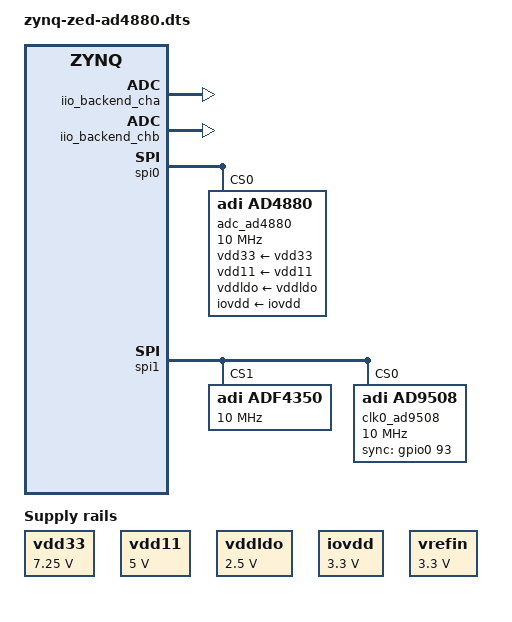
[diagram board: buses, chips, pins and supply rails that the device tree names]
// SPDX-License-Identifier: GPL-2.0
/dts-v1/;
#include "zynq-zed.dts"

#include <dt-bindings/interrupt-controller/irq.h>
#include <dt-bindings/iio/frequency/ad9508.h>

/ {
	clocks {
		axi_clk: clock@0 {
			compatible = "fixed-clock";
			clock-frequency = <100000000>;
			clock-output-names = "axi-clk";
			#clock-cells = <0>;
		};
	};

	vdd33: regulator-vdd33 {
		compatible = "regulator-fixed";
		regulator-name = "fixed-supply";
		regulator-min-microvolt = <7250000>;
		regulator-max-microvolt = <7250000>;
		regulator-always-on;
	};

	vdd11: regulator-vdd11 {
		compatible = "regulator-fixed";
		regulator-name = "fixed-supply";
		regulator-min-microvolt = <5000000>;
		regulator-max-microvolt = <5000000>;
		regulator-always-on;
	};

	vddldo: regulator-vddldo {
		compatible = "regulator-fixed";
		regulator-name = "fixed-supply";
		regulator-min-microvolt = <2500000>;
		regulator-max-microvolt = <2500000>;
		regulator-always-on;
	};

	iovdd: regulator-iovdd {
		compatible = "regulator-fixed";
		regulator-name = "fixed-supply";
		regulator-min-microvolt = <3300000>;
		regulator-max-microvolt = <3300000>;
		regulator-always-on;
	};

	vrefin: regulator-vrefin {
		compatible = "regulator-fixed";
		regulator-name = "fixed-supply";
		regulator-min-microvolt = <3300000>;
		regulator-max-microvolt = <3300000>;
		regulator-always-on;
	};

	fpga-axi@0 {
		compatible = "simple-bus";
		#address-cells = <0x1>;
		#size-cells = <0x1>;
		ranges;

		rx_dma: rx-dmac@44a30000 {
			compatible = "adi,axi-dmac-1.00.a";
			reg = <0x44A30000 0x10000>;
			#dma-cells = <1>;
			interrupt-parent = <&intc>;
			interrupts = <0 57 IRQ_TYPE_LEVEL_HIGH>;
			clocks = <&clkc 16>;

			adi,channels {
				#size-cells = <0>;
				#address-cells = <1>;

				dma-channel@0 {
					reg = <0>;
					adi,source-bus-width = <64>;
					adi,source-bus-type = <2>;
					adi,destination-bus-width = <64>;
					adi,destination-bus-type = <0>;
				};
			};
		};

		iio_backend_cha: axi_adc@44a00000 {
			compatible = "adi,axi-ad408x";
			reg = <0x44A00000 0x10000>;
			dmas = <&rx_dma 0>;
			dma-names = "rx";
			clocks = <&axi_clk>;
			spibus-connected = <&adc_ad4880>;
		};

		iio_backend_chb: axi_adc@44a10000 {
			compatible = "adi,axi-ad408x";
			reg = <0x44A10000 0x10000>;
			clocks = <&axi_clk>;
			spibus-connected = <&adc_ad4880>;
		};
	};

	adf4350_clkin: adf4350_clkin {
		compatible = "fixed-clock";
		#clock-cells = <0>;
		clock-frequency = <25000000>;
	};

	adf4350_clkout: adf4350_clkout {
		compatible = "fixed-clock";
		#clock-cells = <0>;
		clock-frequency = <400000000>;
	};
};

&spi0 {
	status = "okay";
	num-cs = <2>;

	adc_ad4880: adc_ad4880@0 {
		#address-cells = <1>;
		#size-cells = <0>;
		compatible = "adi,ad4880";
		reg = <0>;
		adi,aux-spi-cs = <1>;
		spi-max-frequency = <10000000>;
		clocks = <&clk0_ad9508 2>;
		clock-names = "cnv";
		adi,lvds-cnv-enable;
		adi,num-lanes = <1>;
		vdd33-supply = <&vdd33>;
		vdd11-supply = <&vdd11>;
		vddldo-supply = <&vddldo>;
		iovdd-supply = <&iovdd>;
		vrefin-supply = <&vrefin>;
		io-backends = <&iio_backend_cha>, <&iio_backend_chb>;
		io-backend-names = "0", "1";
	};
};


&spi1 {
	status = "okay";

	adf4350: adf4350@1 {
		#address-cells = <1>;
		#size-cells = <0>;
		compatible = "adi,adf4350";
		reg = <1>;
		spi-max-frequency = <10000000>;
		clocks = <&adf4350_clkin>;
		clock-names = "clkin";
		adi,reference-div-factor = <1>;
		adi,channel-spacing = <100000>;
		adi,lock-detect-function-integer-n-enable;
		adi,anti-backlash-3ns-enable;
		adi,muxout-select = <6>;
		adi,power-up-frequency = <400000000>;
		adi,phase-detector-polarity-positive-enable;
		adi,charge-pump-current = <5000>;
		adi,output-power = <1>;
	};

	clk0_ad9508: ad9508@0 {
		#address-cells = <1>;
		#size-cells = <0>;
		#clock-cells = <1>;
		compatible = "adi,ad9508";
		reg = <0>;
		spi-cpol;
		spi-cpha;

		clocks = <&adf4350_clkout>;

		spi-max-frequency = <10000000>;
		clock-output-names = "ad9508-1_out0", "ad9508-1_out1", "ad9508-1_out2", "ad9508-1_out3";
		sync-gpios = <&gpio0 93 0>;

		ad9508_0_c0:channel@0 {
			reg = <0>;
			adi,extended-name = "CNV_B";
			adi,driver-mode = <(DRIVER_PHASE_NORMAL | DRIVER_MODE_LVDS_1_25)>;
			adi,divider-phase = <0>;
			adi,channel-divider = <10>;
		};

		ad9508_0_c1:channel@1 {
			reg = <1>;
			adi,extended-name = "CLK_B";
			adi,driver-mode = <(DRIVER_PHASE_INVERTING | DRIVER_MODE_LVDS_1_25)>;
			adi,divider-phase = <0>;
			adi,channel-divider = <1>;
		};

		ad9508_0_c2:channel@2 {
			reg = <2>;
			adi,extended-name = "CNV_A";
			adi,driver-mode = <(DRIVER_PHASE_NORMAL | DRIVER_MODE_LVDS_1_25)>;
			adi,divider-phase = <0>;
			adi,channel-divider = <10>;
		};

		ad9508_0_c3:channel@3 {
			reg = <3>;
			adi,extended-name = "CLK_A";
			adi,driver-mode = <(DRIVER_PHASE_INVERTING | DRIVER_MODE_LVDS_1_25)>;
			adi,divider-phase = <0>;
			adi,channel-divider = <1>;
		};

	};
};
